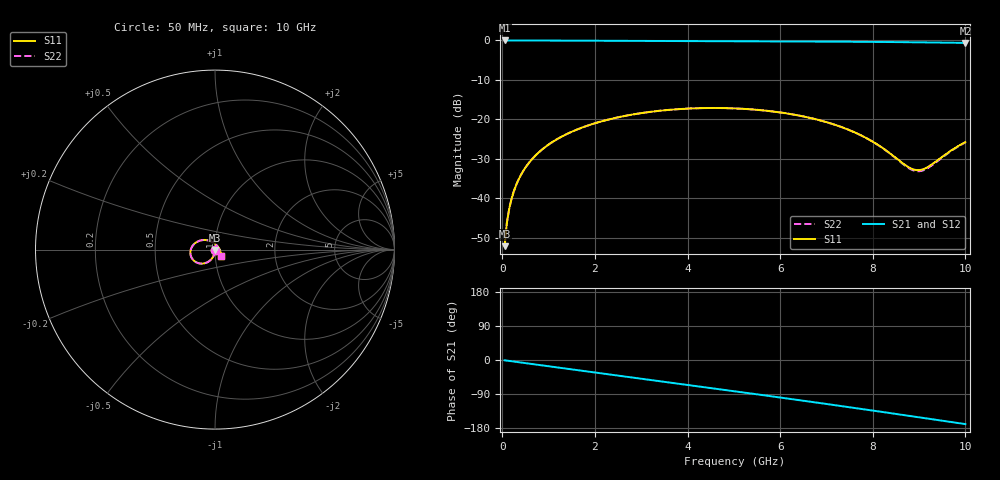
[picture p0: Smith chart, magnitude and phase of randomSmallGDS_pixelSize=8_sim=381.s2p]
! freq	dB(S11)	phase(S11)	dB(S12)	phase(S12)
!  dB(S21)	phase(S21)	dB(S22)	phase(S22)
!S-par simulation data
#  GHz  S  DB  R 50
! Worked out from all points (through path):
!   200 points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, 50 MHz to 10 GHz, reference 50 ohm
!   highest |S21| = 0.00 dB at 50 MHz (marker M1); lowest = -0.6 dB at 10 GHz (marker M2)
!   group delay of S21, straight-line fit = 46.7 ps
!   lowest |S11| = -52.2 dB at 50 MHz (marker M3), VSWR 1.00, Z = 50 - j0.246 ohm
!   |S11| at or under -10 dB: start of sweep to end of sweep
!   |S22| runs from -52.2 to -17.1 dB; largest |S21 - S12| = 0
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0.05  -52.19 -90.5  -0.00 -0.8  -0.00 -0.8  -52.19 -90.5
0.1  -46.17 -91.6  -0.00 -1.7  -0.00 -1.7  -46.17 -91.6
0.15  -42.65 -92.5  -0.00 -2.5  -0.00 -2.5  -42.65 -92.5
0.2  -40.16 -93.4  -0.00 -3.3  -0.00 -3.3  -40.16 -93.4
0.35  -35.32 -96.1  -0.00 -5.8  -0.00 -5.8  -35.32 -96.1
0.5  -32.25 -98.8  -0.01 -8.3  -0.01 -8.3  -32.25 -98.8
0.7  -29.39 -102.3  -0.02 -11.6  -0.02 -11.6  -29.39 -102.3
1  -26.41 -107.4  -0.03 -16.5  -0.03 -16.5  -26.41 -107.4
1.75  -21.98 -120.1  -0.06 -28.9  -0.06 -28.9  -21.98 -120.0
2.5  -19.50 -132.5  -0.09 -41.1  -0.09 -41.1  -19.49 -132.5
3.4  -17.83 -147.6  -0.14 -55.9  -0.14 -55.9  -17.83 -147.6
4.25  -17.18 -162.1  -0.18 -69.8  -0.18 -69.8  -17.18 -162.0
5.05  -17.25 -176.1  -0.21 -83.0  -0.21 -83.0  -17.25 -176.0
5.9  -18.10 168.2  -0.24 -97.3  -0.24 -97.3  -18.10 168.4
6.7  -19.79 152.1  -0.28 -110.9  -0.28 -110.9  -19.80 152.3
7.6  -23.27 130.0  -0.33 -126.4  -0.33 -126.4  -23.28 130.5
8  -25.68 116.5  -0.36 -133.5  -0.36 -133.5  -25.71 117.1
8.35  -28.44 99.4  -0.40 -139.6  -0.40 -139.6  -28.51 100.3
8.75  -31.99 64.9  -0.44 -146.7  -0.44 -146.7  -32.20 65.9
9  -32.90 31.7  -0.47 -151.2  -0.47 -151.2  -33.19 31.9
9.2  -32.03 5.7  -0.50 -154.8  -0.50 -154.8  -32.30 5.1
10  -25.79 -46.8  -0.62 -169.2  -0.62 -169.2  -25.88 -47.7
